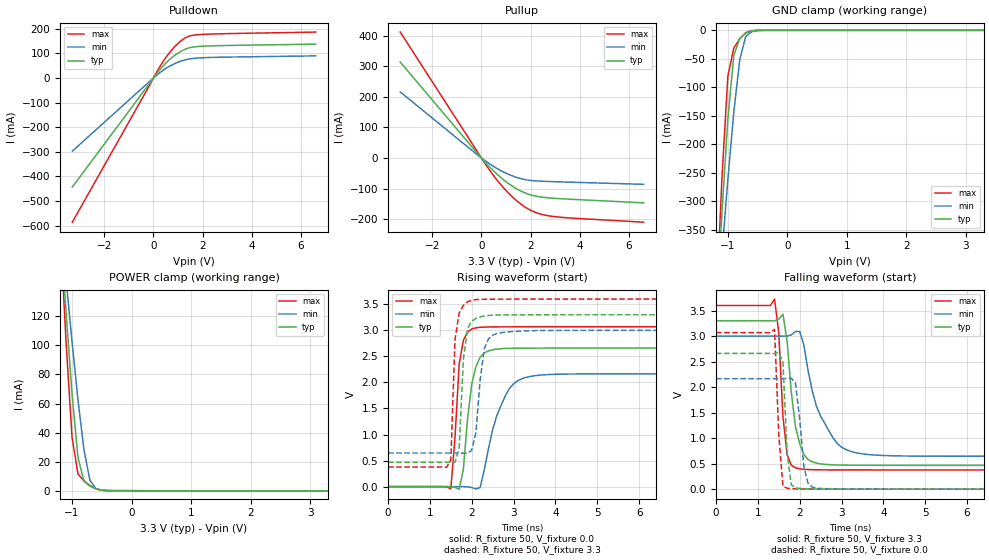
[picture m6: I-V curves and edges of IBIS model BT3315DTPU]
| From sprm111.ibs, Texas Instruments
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[Model]   BT3315DTPU
| I/O WITH PULLUP
Model_type   I/O
Vinh = 2.00
Vinl = 0.80
Enable   Active-Low
Polarity   Non-Inverting
| signals   A, GZ, Y
Vmeas = 1.5
|   typ   min   max
C_comp   1.6130p   1.5354p   1.7989p
|   typ   min   max
[Temperature Range]   25   -40   125
|   typ   min   max
[Voltage Range]   3.30V   3.00V   3.60V
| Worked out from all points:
|   slope of the pulldown table from 0 to 0.495 V, typ, clamps not added: 8.31 ohm
|   slope of the pullup table from 0 to 0.495 V, typ, clamps not added: 11.7 ohm
|   GND clamp passes 1 mA (typ) near -0.60 V on its own axis
|   POWER clamp passes 1 mA (typ) near -0.56 V on its own axis
|   rising waveform, R_fixture 50, V_fixture 0.0: 20-80 % time 227ps typ, 469ps min, 154ps max; typ from 0 V to 2.66 V
|   falling waveform, R_fixture 50, V_fixture 3.3: 20-80 % time 241ps typ, 559ps min, 147ps max; typ from 3.3 V to 0.467 V
|   rising waveform, R_fixture 50, V_fixture 3.3: 20-80 % time 132ps typ, 172ps min, 104ps max; typ from 0.467 V to 3.3 V
|   falling waveform, R_fixture 50, V_fixture 0.0: 20-80 % time 108ps typ, 154ps min, 112ps max; typ from 2.66 V to 0 V
[Pulldown]
|   Voltage   I(typ)   I(min)   I(max)
-3.3V     -443.2mA   -297.4mA   -586.1mA
200mV     26.36mA    16.88mA    36.1mA
600mV     69.79mA    44.5mA     96.01mA
800mV     86.98mA    55.31mA    120.1mA
1.1V      107.3mA    67.84mA    149mA
1.4V      120.9mA    76.06mA    168.2mA
1.9V      128.4mA    81.63mA    176.5mA
6.6V      137.5mA    89.76mA    186.4mA
[GND_clamp]
|   Voltage   I(typ)   I(min)   I(max)
-3.3V     -4.811A    -3.63A     -6.247A
-1.2V     -504.1mA   -527.5mA   -496.6mA
-1.1V     -320mA     -391.3mA   -259mA
-1V       -154.5mA   -261.1mA   -80.07mA
-900mV    -43.32mA   -142.6mA   -30.81mA
-800mV    -14.05mA   -51.16mA   -14.64mA
-700mV    -5.037mA   -10.97mA   -4.191mA
-600mV    -961.5uA   -2.449mA   -466.6uA
-400mV    -4.855uA   -52.49uA   -479.3nA
3.3V      266.4pA    4.204uA    88.82pA
[Pullup]
|   Voltage   I(typ)   I(min)   I(max)
-3.3V     313.3mA    215.7mA    411.3mA
-200mV    18.73mA    12.64mA    24.99mA
300mV     -26.46mA   -17.43mA   -35.88mA
900mV     -71.16mA   -45.96mA   -97.51mA
1.2V      -89.06mA   -56.81mA   -122.9mA
1.5V      -103.8mA   -65.22mA   -144.3mA
1.8V      -115.1mA   -71.07mA   -161.7mA
2.1V      -122.9mA   -74.31mA   -174.7mA
2.7V      -130.1mA   -76.88mA   -188.6mA
3.6V      -134.9mA   -79.19mA   -196.2mA
6.6V      -146.8mA   -86.27mA   -210mA
[POWER_clamp]
|   Voltage   I(typ)   I(min)   I(max)
-3.3V     1.584A     1.199A     2.052A
-1.2V     182.8mA    190mA      180.5mA
-1.1V     122.3mA    145.4mA    101.8mA
-1V       66.45mA    102.4mA    36.68mA
-900mV    22.85mA    62.33mA    11.47mA
-800mV    6.433mA    28.18mA    6.816mA
-700mV    3.2mA      7.14mA     3.571mA
-600mV    1.373mA    1.452mA    1.297mA
-500mV    357.3uA    341.4uA    240.6uA
-400mV    65.6uA     67.61uA    56.84uA
3.3V      -108.3uA   -68.37uA   -162.1uA
[Ramp]
|   I(typ)   I(min)   I(max)
dV/dt_r   1.596/0.221n   1.299/0.470n   1.841/0.134n
dV/dt_f   1.700/0.236n   1.413/0.561n   1.934/0.133n
[Rising Waveform]
R_fixture = 50
V_fixture = 0.0
|  pu_on
|  TIME   V(typ)   V(min)   V(max)
0s        1nV        11nV       1nV
1.5ns     1.189mV    119.9uV    -44.7mV
1.7ns     -48.71mV   522.6uV    2.357V
1.8ns     334.4mV    921.7uV    2.808V
2ns       1.971V     -18.91mV   3.026V
2.2ns     2.484V     -16.74mV   3.058V
2.3ns     2.565V     322.3mV    3.062V
2.6ns     2.64V      1.363V     3.066V
3.2ns     2.658V     2.071V     3.067V
10ns      2.66V      2.165V     3.068V
[Falling Waveform]
R_fixture = 50
V_fixture = 3.3
V_fixture_min = 3.0
V_fixture_max = 3.6
|  pd_on
|  TIME   V(typ)   V(min)   V(max)
0s        3.3V       3V         3.6V
1.4ns     3.298V     3V         3.726V
1.5ns     3.333V     3V         3.07V
1.6ns     3.427V     2.998V     1.421V
1.7ns     2.902V     3V         681.4mV
1.9ns     1.221V     3.09V      419.3mV
2.1ns     678.7mV    2.826V     389.8mV
2.5ns     496.2mV    1.431V     379mV
3.2ns     469.6mV    745.6mV    376.7mV
10ns      466.6mV    645mV      376.2mV
[Rising Waveform]
R_fixture = 50
V_fixture = 3.3
V_fixture_min = 3.0
V_fixture_max = 3.6
|  pd_off
|  TIME   V(typ)   V(min)   V(max)
0s        466.6mV    644.9mV    376.2mV
1.5ns     466mV      645.3mV    511.7mV
1.6ns     469.6mV    645.1mV    2.822V
1.7ns     739.3mV    644.1mV    3.333V
1.8ns     2.445V     641.9mV    3.479V
1.9ns     3.035V     644.6mV    3.547V
2.1ns     3.228V     1.039V     3.59V
2.3ns     3.275V     2.653V     3.596V
2.6ns     3.293V     2.94V      3.598V
10ns      3.3V       3V         3.6V
[Falling Waveform]
R_fixture = 50
V_fixture = 0.0
|  pu_off
|  TIME   V(typ)   V(min)   V(max)
0s        2.66V      2.165V     3.068V
1.4ns     2.658V     2.165V     3.132V
1.5ns     2.683V     2.164V     1.074V
1.6ns     2.487V     2.164V     58.19mV
1.7ns     706mV      2.167V     18.2mV
1.8ns     87.02mV    2.174V     10.21mV
1.9ns     23.64mV    2.084V     6.707mV
2.1ns     9.634mV    444.3mV    3.045mV
2.3ns     5.379mV    41.61mV    1.709mV
10ns      285nV      4.579uV    145nV
